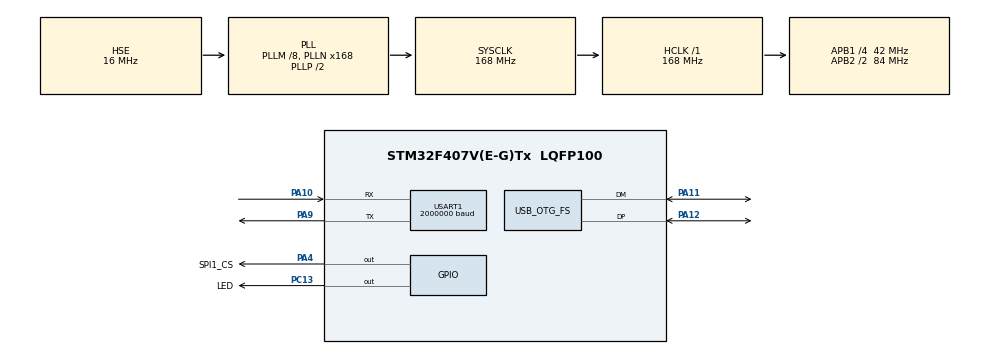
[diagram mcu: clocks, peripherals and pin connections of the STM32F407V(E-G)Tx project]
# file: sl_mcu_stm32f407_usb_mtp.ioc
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Mcu.Family=STM32F4
Mcu.Name=STM32F407V(E-G)Tx
Mcu.Package=LQFP100
NVIC.OTG_FS_IRQn=true\:0\:0\:false\:false\:true\:true\:true\:true
NVIC.PriorityGroup=NVIC_PRIORITYGROUP_4
PA10.Mode=Asynchronous
PA10.Signal=USART1_RX
PA11.Mode=Device_Only
PA11.Signal=USB_OTG_FS_DM
PA12.Mode=Device_Only
PA12.Signal=USB_OTG_FS_DP
PA13.Mode=Trace_Asynchronous_SW
PA13.Signal=SYS_JTMS-SWDIO
PA14.Mode=Trace_Asynchronous_SW
PA14.Signal=SYS_JTCK-SWCLK
PA4.GPIO_Label=SPI1_CS
PA4.Signal=GPIO_Output
PA9.Mode=Asynchronous
PA9.Signal=USART1_TX
PB3.Mode=Trace_Asynchronous_SW
PB3.Signal=SYS_JTDO-SWO
PC13-ANTI_TAMP.GPIO_Label=LED
PC13-ANTI_TAMP.GPIO_ModeDefaultOutputPP=GPIO_MODE_OUTPUT_OD
PC13-ANTI_TAMP.GPIO_PuPd=GPIO_NOPULL
PC13-ANTI_TAMP.PinState=GPIO_PIN_SET
PC13-ANTI_TAMP.Signal=GPIO_Output
PH0-OSC_IN.Mode=HSE-External-Oscillator
PH0-OSC_IN.Signal=RCC_OSC_IN
PH1-OSC_OUT.Mode=HSE-External-Oscillator
PH1-OSC_OUT.Signal=RCC_OSC_OUT
ProjectManager.HeapSize=0x200
ProjectManager.StackSize=0x400
ProjectManager.TargetToolchain=STM32CubeIDE
RCC.48MHZClocksFreq_Value=48000000
RCC.AHBFreq_Value=168000000
RCC.APB1CLKDivider=RCC_HCLK_DIV4
RCC.APB1Freq_Value=42000000
RCC.APB1TimFreq_Value=84000000
RCC.APB2CLKDivider=RCC_HCLK_DIV2
RCC.APB2Freq_Value=84000000
RCC.APB2TimFreq_Value=168000000
RCC.CortexFreq_Value=168000000
RCC.HCLKFreq_Value=168000000
RCC.HSE_VALUE=16000000
RCC.HSI_VALUE=16000000
RCC.LSE_VALUE=32768
RCC.PLLM=8
RCC.PLLN=168
RCC.PLLQ=7
RCC.SYSCLKFreq_VALUE=168000000
RCC.SYSCLKSource=RCC_SYSCLKSOURCE_PLLCLK
RCC.VCOOutputFreq_Value=336000000
USART1.BaudRate=2000000
USART1.VirtualMode=VM_ASYNC
USB_OTG_FS.VirtualMode=Device_Only
VP_CRC_VS_CRC.Mode=CRC_Activate
board=custom

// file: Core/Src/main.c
/* USER CODE BEGIN Header */
/**
 ******************************************************************************
 * @file           : main.c
 * @brief          : Main program body
 ******************************************************************************
 * @attention
 *
 * Copyright (c) 2026 Lars Boegild Thomsen <lbthomsen@gmail.com>
 * All rights reserved.
 *
 * This software is licensed under terms that can be found in the LICENSE file
 * in the root directory of this software component.
 * If no LICENSE file comes with this software, it is provided AS-IS.
 *
 ******************************************************************************
 */
/* USER CODE END Header */
#include "main.h"

/* USER CODE BEGIN Includes */
#include <stdio.h>
#include <string.h>
#include "tusb.h"
/* USER CODE END Includes */

CRC_HandleTypeDef hcrc;

UART_HandleTypeDef huart1;

PCD_HandleTypeDef hpcd_USB_OTG_FS;

void SystemClock_Config(void);
static void MX_GPIO_Init(void);
static void MX_CRC_Init(void);
static void MX_USART1_UART_Init(void);
static void MX_USB_OTG_FS_PCD_Init(void);

/* USER CODE BEGIN 0 */

// Send printf to uart1
int __io_putchar(int ch) {
    if (ch == '\n') {
        HAL_UART_Transmit(&huart1, (uint8_t*) "\r", 1, HAL_MAX_DELAY);
    }
    if (HAL_UART_Transmit(&huart1, (uint8_t*) &ch, 1, HAL_MAX_DELAY) != HAL_OK) {
        return -1;
    }
    return ch;
}

/* USER CODE END 0 */

int main(void)
{

  /* MCU Configuration--------------------------------------------------------*/

  /* Reset of all peripherals, Initializes the Flash interface and the Systick. */
  HAL_Init();

  /* Configure the system clock */
  SystemClock_Config();

  /* Initialize all configured peripherals */
  MX_GPIO_Init();
  MX_CRC_Init();
  MX_USART1_UART_Init();
  MX_USB_OTG_FS_PCD_Init();
  /* USER CODE BEGIN 2 */

    printf("\n\n\n--------\nCore and peripherals has been initialized\n");

    // Initialize the TinyUSB device stack
    printf("Initializing TinyUSB Device Stack...\n");
    tusb_init();

  /* USER CODE END 2 */

  /* Infinite loop */
  /* USER CODE BEGIN WHILE */
    uint32_t now = 0, next_blink = 0, next_tick = 0;

    while (1) {

        tud_task(); // <-- Add this right at the top of the loop

        now = uwTick;

        if (now >= next_blink) {

            HAL_GPIO_TogglePin(LED_GPIO_Port, LED_Pin);

            next_blink = now + 500;
        }

        if (now >= next_tick) {
            printf("Tick %lu\n", now / 1000);
            next_tick = now + 1000;
        }

    /* USER CODE END WHILE */

    }
}

void SystemClock_Config(void)
{
  RCC_OscInitTypeDef RCC_OscInitStruct = {0};
  RCC_ClkInitTypeDef RCC_ClkInitStruct = {0};

  /** Configure the main internal regulator output voltage
  */
  __HAL_RCC_PWR_CLK_ENABLE();
  __HAL_PWR_VOLTAGESCALING_CONFIG(PWR_REGULATOR_VOLTAGE_SCALE1);

  /** Initializes the RCC Oscillators according to the specified parameters
  * in the RCC_OscInitTypeDef structure.
  */
  RCC_OscInitStruct.OscillatorType = RCC_OSCILLATORTYPE_HSE;
  RCC_OscInitStruct.HSEState = RCC_HSE_ON;
  RCC_OscInitStruct.PLL.PLLState = RCC_PLL_ON;
  RCC_OscInitStruct.PLL.PLLSource = RCC_PLLSOURCE_HSE;
  RCC_OscInitStruct.PLL.PLLM = 8;
  RCC_OscInitStruct.PLL.PLLN = 168;
  RCC_OscInitStruct.PLL.PLLP = RCC_PLLP_DIV2;
  RCC_OscInitStruct.PLL.PLLQ = 7;
  if (HAL_RCC_OscConfig(&RCC_OscInitStruct) != HAL_OK)
  {
    Error_Handler();
  }

  /** Initializes the CPU, AHB and APB buses clocks
  */
  RCC_ClkInitStruct.ClockType = RCC_CLOCKTYPE_HCLK|RCC_CLOCKTYPE_SYSCLK
                              |RCC_CLOCKTYPE_PCLK1|RCC_CLOCKTYPE_PCLK2;
  RCC_ClkInitStruct.SYSCLKSource = RCC_SYSCLKSOURCE_PLLCLK;
  RCC_ClkInitStruct.AHBCLKDivider = RCC_SYSCLK_DIV1;
  RCC_ClkInitStruct.APB1CLKDivider = RCC_HCLK_DIV4;
  RCC_ClkInitStruct.APB2CLKDivider = RCC_HCLK_DIV2;

  if (HAL_RCC_ClockConfig(&RCC_ClkInitStruct, FLASH_LATENCY_5) != HAL_OK)
  {
    Error_Handler();
  }
}

static void MX_CRC_Init(void)
{

  hcrc.Instance = CRC;
  if (HAL_CRC_Init(&hcrc) != HAL_OK)
  {
    Error_Handler();
  }

}

static void MX_USART1_UART_Init(void)
{

  huart1.Instance = USART1;
  huart1.Init.BaudRate = 2000000;
  huart1.Init.WordLength = UART_WORDLENGTH_8B;
  huart1.Init.StopBits = UART_STOPBITS_1;
  huart1.Init.Parity = UART_PARITY_NONE;
  huart1.Init.Mode = UART_MODE_TX_RX;
  huart1.Init.HwFlowCtl = UART_HWCONTROL_NONE;
  huart1.Init.OverSampling = UART_OVERSAMPLING_16;
  if (HAL_UART_Init(&huart1) != HAL_OK)
  {
    Error_Handler();
  }

}

static void MX_USB_OTG_FS_PCD_Init(void)
{

  hpcd_USB_OTG_FS.Instance = USB_OTG_FS;
  hpcd_USB_OTG_FS.Init.dev_endpoints = 4;
  hpcd_USB_OTG_FS.Init.speed = PCD_SPEED_FULL;
  hpcd_USB_OTG_FS.Init.dma_enable = DISABLE;
  hpcd_USB_OTG_FS.Init.phy_itface = PCD_PHY_EMBEDDED;
  hpcd_USB_OTG_FS.Init.Sof_enable = DISABLE;
  hpcd_USB_OTG_FS.Init.low_power_enable = DISABLE;
  hpcd_USB_OTG_FS.Init.lpm_enable = DISABLE;
  hpcd_USB_OTG_FS.Init.vbus_sensing_enable = DISABLE;
  hpcd_USB_OTG_FS.Init.use_dedicated_ep1 = DISABLE;
  if (HAL_PCD_Init(&hpcd_USB_OTG_FS) != HAL_OK)
  {
    Error_Handler();
  }

}

static void MX_GPIO_Init(void)
{
  GPIO_InitTypeDef GPIO_InitStruct = {0};

  /* GPIO Ports Clock Enable */
  __HAL_RCC_GPIOC_CLK_ENABLE();
  __HAL_RCC_GPIOH_CLK_ENABLE();
  __HAL_RCC_GPIOA_CLK_ENABLE();
  __HAL_RCC_GPIOB_CLK_ENABLE();

  /*Configure GPIO pin Output Level */
  HAL_GPIO_WritePin(LED_GPIO_Port, LED_Pin, GPIO_PIN_SET);

  /*Configure GPIO pin Output Level */
  HAL_GPIO_WritePin(SPI1_CS_GPIO_Port, SPI1_CS_Pin, GPIO_PIN_RESET);

  /*Configure GPIO pin : LED_Pin */
  GPIO_InitStruct.Pin = LED_Pin;
  GPIO_InitStruct.Mode = GPIO_MODE_OUTPUT_OD;
  GPIO_InitStruct.Pull = GPIO_NOPULL;
  GPIO_InitStruct.Speed = GPIO_SPEED_FREQ_LOW;
  HAL_GPIO_Init(LED_GPIO_Port, &GPIO_InitStruct);

  /*Configure GPIO pin : SPI1_CS_Pin */
  GPIO_InitStruct.Pin = SPI1_CS_Pin;
  GPIO_InitStruct.Mode = GPIO_MODE_OUTPUT_PP;
  GPIO_InitStruct.Pull = GPIO_NOPULL;
  GPIO_InitStruct.Speed = GPIO_SPEED_FREQ_LOW;
  HAL_GPIO_Init(SPI1_CS_GPIO_Port, &GPIO_InitStruct);

}

void Error_Handler(void)
{
    __disable_irq();
    while (1)
    {
    }
}
